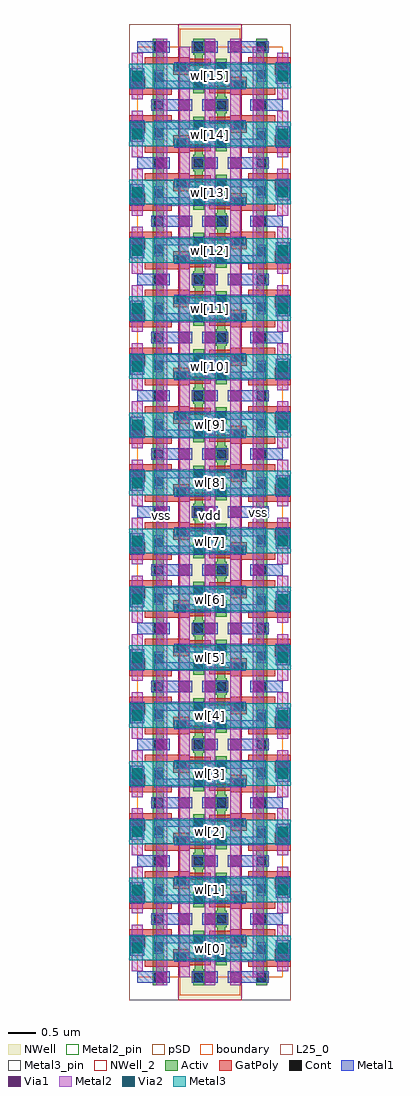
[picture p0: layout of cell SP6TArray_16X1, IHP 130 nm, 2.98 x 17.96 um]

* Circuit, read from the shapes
.subckt SP6TArray_16X1 bl[0] bl_n[0] nwell vdd vss wl[0] wl[10] wl[11] wl[12] wl[13] wl[14] wl[15] wl[1] wl[2] wl[3] wl[4] wl[5] wl[6] wl[7] wl[8] wl[9]
XM1 n1 n2 vss VSUBS sg13_lv_nmos w=0.2u l=0.13u
XM2 bl[0] wl[0] n1 VSUBS sg13_lv_nmos w=0.2u l=0.13u
XM3 n3 wl[1] bl[0] VSUBS sg13_lv_nmos w=0.2u l=0.13u
XM4 vss n4 n3 VSUBS sg13_lv_nmos w=0.2u l=0.13u
XM5 n5 n6 vss VSUBS sg13_lv_nmos w=0.2u l=0.13u
XM6 bl[0] wl[2] n5 VSUBS sg13_lv_nmos w=0.2u l=0.13u
XM7 n7 wl[3] bl[0] VSUBS sg13_lv_nmos w=0.2u l=0.13u
XM8 vss n8 n7 VSUBS sg13_lv_nmos w=0.2u l=0.13u
XM9 n9 n10 vss VSUBS sg13_lv_nmos w=0.2u l=0.13u
XM10 bl[0] wl[4] n9 VSUBS sg13_lv_nmos w=0.2u l=0.13u
XM11 n11 wl[5] bl[0] VSUBS sg13_lv_nmos w=0.2u l=0.13u
XM12 vss n12 n11 VSUBS sg13_lv_nmos w=0.2u l=0.13u
XM13 n13 n14 vss VSUBS sg13_lv_nmos w=0.2u l=0.13u
XM14 bl[0] wl[6] n13 VSUBS sg13_lv_nmos w=0.2u l=0.13u
XM15 n15 wl[7] bl[0] VSUBS sg13_lv_nmos w=0.2u l=0.13u
XM16 vss n16 n15 VSUBS sg13_lv_nmos w=0.2u l=0.13u
XM17 n17 n18 vss VSUBS sg13_lv_nmos w=0.2u l=0.13u
XM18 bl[0] wl[8] n17 VSUBS sg13_lv_nmos w=0.2u l=0.13u
XM19 n19 wl[9] bl[0] VSUBS sg13_lv_nmos w=0.2u l=0.13u
XM20 vss n20 n19 VSUBS sg13_lv_nmos w=0.2u l=0.13u
XM21 n21 n22 vss VSUBS sg13_lv_nmos w=0.2u l=0.13u
XM22 bl[0] wl[10] n21 VSUBS sg13_lv_nmos w=0.2u l=0.13u
XM23 n23 wl[11] bl[0] VSUBS sg13_lv_nmos w=0.2u l=0.13u
XM24 vss n24 n23 VSUBS sg13_lv_nmos w=0.2u l=0.13u
XM25 n25 n26 vss VSUBS sg13_lv_nmos w=0.2u l=0.13u
XM26 bl[0] wl[12] n25 VSUBS sg13_lv_nmos w=0.2u l=0.13u
XM27 n27 wl[13] bl[0] VSUBS sg13_lv_nmos w=0.2u l=0.13u
XM28 vss n28 n27 VSUBS sg13_lv_nmos w=0.2u l=0.13u
XM29 n29 n30 vss VSUBS sg13_lv_nmos w=0.2u l=0.13u
XM30 bl[0] wl[14] n29 VSUBS sg13_lv_nmos w=0.2u l=0.13u
XM31 n31 wl[15] bl[0] VSUBS sg13_lv_nmos w=0.2u l=0.13u
XM32 vss n32 n31 VSUBS sg13_lv_nmos w=0.2u l=0.13u
XM33 n2 wl[0] bl_n[0] VSUBS sg13_lv_nmos w=0.2u l=0.13u
XM34 vss n1 n2 VSUBS sg13_lv_nmos w=0.2u l=0.13u
XM35 n4 n3 vss VSUBS sg13_lv_nmos w=0.2u l=0.13u
XM36 bl_n[0] wl[1] n4 VSUBS sg13_lv_nmos w=0.2u l=0.13u
XM37 n6 wl[2] bl_n[0] VSUBS sg13_lv_nmos w=0.2u l=0.13u
XM38 vss n5 n6 VSUBS sg13_lv_nmos w=0.2u l=0.13u
XM39 n8 n7 vss VSUBS sg13_lv_nmos w=0.2u l=0.13u
XM40 bl_n[0] wl[3] n8 VSUBS sg13_lv_nmos w=0.2u l=0.13u
XM41 n10 wl[4] bl_n[0] VSUBS sg13_lv_nmos w=0.2u l=0.13u
XM42 vss n9 n10 VSUBS sg13_lv_nmos w=0.2u l=0.13u
XM43 n12 n11 vss VSUBS sg13_lv_nmos w=0.2u l=0.13u
XM44 bl_n[0] wl[5] n12 VSUBS sg13_lv_nmos w=0.2u l=0.13u
XM45 n14 wl[6] bl_n[0] VSUBS sg13_lv_nmos w=0.2u l=0.13u
XM46 vss n13 n14 VSUBS sg13_lv_nmos w=0.2u l=0.13u
XM47 n16 n15 vss VSUBS sg13_lv_nmos w=0.2u l=0.13u
XM48 bl_n[0] wl[7] n16 VSUBS sg13_lv_nmos w=0.2u l=0.13u
XM49 n18 wl[8] bl_n[0] VSUBS sg13_lv_nmos w=0.2u l=0.13u
XM50 vss n17 n18 VSUBS sg13_lv_nmos w=0.2u l=0.13u
XM51 n20 n19 vss VSUBS sg13_lv_nmos w=0.2u l=0.13u
XM52 bl_n[0] wl[9] n20 VSUBS sg13_lv_nmos w=0.2u l=0.13u
XM53 n22 wl[10] bl_n[0] VSUBS sg13_lv_nmos w=0.2u l=0.13u
XM54 vss n21 n22 VSUBS sg13_lv_nmos w=0.2u l=0.13u
XM55 n24 n23 vss VSUBS sg13_lv_nmos w=0.2u l=0.13u
XM56 bl_n[0] wl[11] n24 VSUBS sg13_lv_nmos w=0.2u l=0.13u
XM57 n26 wl[12] bl_n[0] VSUBS sg13_lv_nmos w=0.2u l=0.13u
XM58 vss n25 n26 VSUBS sg13_lv_nmos w=0.2u l=0.13u
XM59 n28 n27 vss VSUBS sg13_lv_nmos w=0.2u l=0.13u
XM60 bl_n[0] wl[13] n28 VSUBS sg13_lv_nmos w=0.2u l=0.13u
XM61 n30 wl[14] bl_n[0] VSUBS sg13_lv_nmos w=0.2u l=0.13u
XM62 vss n29 n30 VSUBS sg13_lv_nmos w=0.2u l=0.13u
XM63 n32 n31 vss VSUBS sg13_lv_nmos w=0.2u l=0.13u
XM64 bl_n[0] wl[15] n32 VSUBS sg13_lv_nmos w=0.2u l=0.13u
XM65 n1 n2 vdd nwell sg13_lv_pmos w=0.15u l=0.13u
XM66 vdd n4 n3 nwell sg13_lv_pmos w=0.15u l=0.13u
XM67 n5 n6 vdd nwell sg13_lv_pmos w=0.15u l=0.13u
XM68 vdd n8 n7 nwell sg13_lv_pmos w=0.15u l=0.13u
XM69 n9 n10 vdd nwell sg13_lv_pmos w=0.15u l=0.13u
XM70 vdd n12 n11 nwell sg13_lv_pmos w=0.15u l=0.13u
XM71 n13 n14 vdd nwell sg13_lv_pmos w=0.15u l=0.13u
XM72 vdd n16 n15 nwell sg13_lv_pmos w=0.15u l=0.13u
XM73 n17 n18 vdd nwell sg13_lv_pmos w=0.15u l=0.13u
XM74 vdd n20 n19 nwell sg13_lv_pmos w=0.15u l=0.13u
XM75 n21 n22 vdd nwell sg13_lv_pmos w=0.15u l=0.13u
XM76 vdd n24 n23 nwell sg13_lv_pmos w=0.15u l=0.13u
XM77 n25 n26 vdd nwell sg13_lv_pmos w=0.15u l=0.13u
XM78 vdd n28 n27 nwell sg13_lv_pmos w=0.15u l=0.13u
XM79 n29 n30 vdd nwell sg13_lv_pmos w=0.15u l=0.13u
XM80 vdd n32 n31 nwell sg13_lv_pmos w=0.15u l=0.13u
XM81 vdd n1 n2 nwell sg13_lv_pmos w=0.15u l=0.13u
XM82 n4 n3 vdd nwell sg13_lv_pmos w=0.15u l=0.13u
XM83 vdd n5 n6 nwell sg13_lv_pmos w=0.15u l=0.13u
XM84 n8 n7 vdd nwell sg13_lv_pmos w=0.15u l=0.13u
XM85 vdd n9 n10 nwell sg13_lv_pmos w=0.15u l=0.13u
XM86 n12 n11 vdd nwell sg13_lv_pmos w=0.15u l=0.13u
XM87 vdd n13 n14 nwell sg13_lv_pmos w=0.15u l=0.13u
XM88 n16 n15 vdd nwell sg13_lv_pmos w=0.15u l=0.13u
XM89 vdd n17 n18 nwell sg13_lv_pmos w=0.15u l=0.13u
XM90 n20 n19 vdd nwell sg13_lv_pmos w=0.15u l=0.13u
XM91 vdd n21 n22 nwell sg13_lv_pmos w=0.15u l=0.13u
XM92 n24 n23 vdd nwell sg13_lv_pmos w=0.15u l=0.13u
XM93 vdd n25 n26 nwell sg13_lv_pmos w=0.15u l=0.13u
XM94 n28 n27 vdd nwell sg13_lv_pmos w=0.15u l=0.13u
XM95 vdd n29 n30 nwell sg13_lv_pmos w=0.15u l=0.13u
XM96 n32 n31 vdd nwell sg13_lv_pmos w=0.15u l=0.13u
.ends

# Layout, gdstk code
import gdstk
lib = gdstk.Library(unit=1e-6, precision=1e-09)
def R(c, l, rs):  # rectangles x0, y0, x1, y1
    for r in rs: c.add(gdstk.rectangle(r[:2], r[2:], *l))
def A(c, l, x, y, w, h, nx, ny, dx, dy):  # array of equal rectangles
    R(c, l, [(x+i*dx, y+j*dy, x+i*dx+w, y+j*dy+h) for i in range(nx) for j in range(ny)])
def P(c, l, *ps):  # polygons
    for p in ps: c.add(gdstk.Polygon(p, *l))
Activ = (1, 0)
GatPoly = (5, 0)
Cont = (6, 0)
Metal1 = (8, 0)
Metal2 = (10, 0)
Metal2_pin = (10, 2)
pSD = (14, 0)
Via1 = (19, 0)
L25_0 = (25, 0)
Via2 = (29, 0)
Metal3 = (30, 0)
Metal3_pin = (30, 2)
NWell = (31, 0)
NWell_2 = (31, 2)
boundary = (189, 4)

sp6tcell = lib.new_cell('SP6TCell')
R(sp6tcell, Activ, [(0.29,-0.15,0.49,1.22), (2.19,-0.15,2.39,1.22)])
P(sp6tcell, Activ, [(1.45,-0.15),(1.45,0.15),(1.475,0.15),(1.475,0.555),(1.45,0.555),(1.45,0.855),(1.65,0.855),(1.65,0.555),(1.625,0.555),(1.625,0.15),(1.65,0.15),(1.65,-0.15)],
  [(1.03,0.215),(1.03,0.515),(1.055,0.515),(1.055,0.92),(1.03,0.92),(1.03,1.22),(1.23,1.22),(1.23,0.92),(1.205,0.92),(1.205,0.515),(1.23,0.515),(1.23,0.215)])
P(sp6tcell, GatPoly, [(-0.15,0.19),(-0.15,0.515),(0.15,0.515),(0.15,0.32),(0.64,0.32),(0.64,0.19)],
  [(1.72,0.19),(1.72,0.22),(1.325,0.22),(1.325,0.35),(1.72,0.35),(1.72,0.515),(2.02,0.515),(2.02,0.32),(2.54,0.32),(2.54,0.19)],
  [(0.66,0.555),(0.66,0.75),(0.14,0.75),(0.14,0.88),(0.96,0.88),(0.96,0.85),(1.355,0.85),(1.355,0.72),(0.96,0.72),(0.96,0.555)],
  [(2.53,0.555),(2.53,0.75),(2.04,0.75),(2.04,0.88),(2.83,0.88),(2.83,0.555)])
R(sp6tcell, Cont, [(0.31,-0.08,0.47,0.08), (1.47,-0.08,1.63,0.08), (2.21,-0.08,2.37,0.08), (-0.08,0.285,0.08,0.445), (1.05,0.285,1.21,0.445), (1.79,0.285,1.95,0.445), (0.31,0.43,0.47,0.59), (2.21,0.48,2.37,0.64), (0.73,0.625,0.89,0.785), (1.47,0.625,1.63,0.785), (2.6,0.625,2.76,0.785), (0.31,0.99,0.47,1.15), (1.05,0.99,1.21,1.15), (2.21,0.99,2.37,1.15)])
R(sp6tcell, Metal1, [(0.26,-0.105,1.015,0.105), (1.195,-0.105,1.68,0.105), (2.085,-0.105,2.68,0.105), (-0.13,0.285,0.13,0.68), (2.55,0.39,2.81,0.785), (0,0.965,0.595,1.175), (1,0.965,1.485,1.175), (1.665,0.965,2.42,1.175)])
P(sp6tcell, Metal1, [(0.31,0.285),(0.31,0.64),(0.47,0.64),(0.47,0.445),(2,0.445),(2,0.285)],
  [(2.21,0.43),(2.21,0.625),(0.68,0.625),(0.68,0.785),(2.37,0.785),(2.37,0.43)])
R(sp6tcell, Metal2, [(0.77,-0.145,0.97,1.07), (1.24,-0.145,1.44,1.215), (2.13,-0.145,2.33,1.07), (0.35,0,0.55,1.215), (1.71,0,1.91,1.215), (-0.1,0.105,0.1,0.965), (2.58,0.105,2.78,0.965)])
R(sp6tcell, Metal2_pin, [(0.77,-0.145,0.97,1.07), (1.24,-0.145,1.44,1.215), (2.13,-0.145,2.33,1.07), (0.35,0,0.55,1.215), (1.71,0,1.91,1.215)])
R(sp6tcell, pSD, [(0.785,-0.33,1.895,1.4)])
R(sp6tcell, Via1, [(0.775,-0.095,0.965,0.095), (1.245,-0.095,1.435,0.095), (2.135,-0.095,2.325,0.095), (-0.095,0.44,0.095,0.63), (2.585,0.44,2.775,0.63), (0.355,0.975,0.545,1.165), (1.245,0.975,1.435,1.165), (1.715,0.975,1.905,1.165)])
R(sp6tcell, L25_0, [(-0.15,-0.42,2.83,1.49)])
R(sp6tcell, Via2, [(-0.095,0.44,0.095,0.63), (2.585,0.44,2.775,0.63)])
R(sp6tcell, Metal3, [(-0.145,0.31,2.825,0.76)])
R(sp6tcell, Metal3_pin, [(-0.145,0.31,2.825,0.76)])
R(sp6tcell, NWell, [(0.76,-0.42,1.92,1.49)])
R(sp6tcell, NWell_2, [(0.76,-0.42,1.92,1.49)])
R(sp6tcell, boundary, [(0,0,2.68,1.07)])
sp6tcell.add(gdstk.Label('bl', (0.87,0.463), layer=10, texttype=25))
sp6tcell.add(gdstk.Label('vss', (0.45,0.608), layer=10, texttype=25))
sp6tcell.add(gdstk.Label('vss', (2.23,0.463), layer=10, texttype=25))
sp6tcell.add(gdstk.Label('vdd', (1.34,0.535), layer=10, texttype=25))
sp6tcell.add(gdstk.Label('bl_n', (1.81,0.608), layer=10, texttype=25))
sp6tcell.add(gdstk.Label('wl', (1.34,0.535), layer=30, texttype=25))
sp6tcell.add(gdstk.Label('nwell', (1.34,0.535), layer=31, texttype=25))

sp6tarray_2x1 = lib.new_cell('SP6TArray_2X1')
R(sp6tarray_2x1, Metal2, [(0.35,-0.145,0.55,2.14), (1.24,-0.145,1.44,2.14), (1.71,-0.145,1.91,2.285), (0.77,0,0.97,2.14), (2.13,0,2.33,2.14)])
R(sp6tarray_2x1, Metal2_pin, [(0.35,-0.145,0.55,2.14), (1.24,-0.145,1.44,2.14), (1.71,-0.145,1.91,2.285), (0.77,0,0.97,2.14), (2.13,0,2.33,2.14)])
R(sp6tarray_2x1, Metal3, [(-0.145,0.31,2.825,0.76), (-0.145,1.38,2.825,1.83)])
R(sp6tarray_2x1, Metal3_pin, [(-0.145,0.31,2.825,0.76), (-0.145,1.38,2.825,1.83)])
R(sp6tarray_2x1, NWell, [(0.76,-0.42,1.92,2.56)])
R(sp6tarray_2x1, NWell_2, [(0.76,-0.42,1.92,2.56)])
R(sp6tarray_2x1, boundary, [(0,0,2.68,2.14)])
sp6tarray_2x1.add(gdstk.Reference(sp6tcell, (0,1.07), x_reflection=True))
sp6tarray_2x1.add(gdstk.Reference(sp6tcell, (0,1.07)))
sp6tarray_2x1.add(gdstk.Label('vss', (0.45,0.998), layer=10, texttype=25))
sp6tarray_2x1.add(gdstk.Label('vss', (2.23,1.07), layer=10, texttype=25))
sp6tarray_2x1.add(gdstk.Label('vdd', (1.34,0.998), layer=10, texttype=25))
sp6tarray_2x1.add(gdstk.Label('bl[0]', (0.87,1.07), layer=10, texttype=25))
sp6tarray_2x1.add(gdstk.Label('bl_n[0]', (1.81,1.07), layer=10, texttype=25))
sp6tarray_2x1.add(gdstk.Label('wl[0]', (1.34,0.535), layer=30, texttype=25))
sp6tarray_2x1.add(gdstk.Label('wl[1]', (1.34,1.605), layer=30, texttype=25))
sp6tarray_2x1.add(gdstk.Label('nwell', (1.34,0.535), layer=31, texttype=25))
sp6tarray_2x1.add(gdstk.Label('nwell', (1.34,1.605), layer=31, texttype=25))

sp6tarray_4x1 = lib.new_cell('SP6TArray_4X1')
R(sp6tarray_4x1, Metal2, [(0.35,-0.145,0.55,4.28), (1.24,-0.145,1.44,4.28), (1.71,-0.145,1.91,4.425), (0.77,0,0.97,4.28), (2.13,0,2.33,4.28)])
R(sp6tarray_4x1, Metal2_pin, [(0.35,-0.145,0.55,4.28), (1.24,-0.145,1.44,4.28), (1.71,-0.145,1.91,4.425), (0.77,0,0.97,4.28), (2.13,0,2.33,4.28)])
A(sp6tarray_4x1, Metal3, -0.145, 0.31, 2.97, 0.45, 1, 4, 0, 1.07)
A(sp6tarray_4x1, Metal3_pin, -0.145, 0.31, 2.97, 0.45, 1, 4, 0, 1.07)
R(sp6tarray_4x1, NWell, [(0.76,-0.42,1.92,4.7)])
R(sp6tarray_4x1, NWell_2, [(0.76,-0.42,1.92,4.7)])
R(sp6tarray_4x1, boundary, [(0,0,2.68,4.28)])
sp6tarray_4x1.add(gdstk.Reference(sp6tarray_2x1, (0,0)))
sp6tarray_4x1.add(gdstk.Reference(sp6tarray_2x1, (0,2.14)))
sp6tarray_4x1.add(gdstk.Label('vss', (0.45,2.068), layer=10, texttype=25))
sp6tarray_4x1.add(gdstk.Label('vss', (2.23,2.14), layer=10, texttype=25))
sp6tarray_4x1.add(gdstk.Label('vdd', (1.34,2.068), layer=10, texttype=25))
sp6tarray_4x1.add(gdstk.Label('bl[0]', (0.87,2.14), layer=10, texttype=25))
sp6tarray_4x1.add(gdstk.Label('bl_n[0]', (1.81,2.14), layer=10, texttype=25))
sp6tarray_4x1.add(gdstk.Label('wl[0]', (1.34,0.535), layer=30, texttype=25))
sp6tarray_4x1.add(gdstk.Label('wl[1]', (1.34,1.605), layer=30, texttype=25))
sp6tarray_4x1.add(gdstk.Label('wl[2]', (1.34,2.675), layer=30, texttype=25))
sp6tarray_4x1.add(gdstk.Label('wl[3]', (1.34,3.745), layer=30, texttype=25))
sp6tarray_4x1.add(gdstk.Label('nwell', (1.34,0.535), layer=31, texttype=25))
sp6tarray_4x1.add(gdstk.Label('nwell', (1.34,2.675), layer=31, texttype=25))
sp6tarray_4x1.add(gdstk.Label('nwell', (1.34,1.605), layer=31, texttype=25))
sp6tarray_4x1.add(gdstk.Label('nwell', (1.34,3.745), layer=31, texttype=25))

sp6tarray_8x1 = lib.new_cell('SP6TArray_8X1')
R(sp6tarray_8x1, Metal2, [(0.35,-0.145,0.55,8.56), (1.24,-0.145,1.44,8.56), (1.71,-0.145,1.91,8.705), (0.77,0,0.97,8.56), (2.13,0,2.33,8.56)])
R(sp6tarray_8x1, Metal2_pin, [(0.35,-0.145,0.55,8.56), (1.24,-0.145,1.44,8.56), (1.71,-0.145,1.91,8.705), (0.77,0,0.97,8.56), (2.13,0,2.33,8.56)])
A(sp6tarray_8x1, Metal3, -0.145, 0.31, 2.97, 0.45, 1, 8, 0, 1.07)
A(sp6tarray_8x1, Metal3_pin, -0.145, 0.31, 2.97, 0.45, 1, 8, 0, 1.07)
R(sp6tarray_8x1, NWell, [(0.76,-0.42,1.92,8.98)])
R(sp6tarray_8x1, NWell_2, [(0.76,-0.42,1.92,8.98)])
R(sp6tarray_8x1, boundary, [(0,0,2.68,8.56)])
sp6tarray_8x1.add(gdstk.Reference(sp6tarray_4x1, (0,0)))
sp6tarray_8x1.add(gdstk.Reference(sp6tarray_4x1, (0,4.28)))
sp6tarray_8x1.add(gdstk.Label('vss', (0.45,4.208), layer=10, texttype=25))
sp6tarray_8x1.add(gdstk.Label('vss', (2.23,4.28), layer=10, texttype=25))
sp6tarray_8x1.add(gdstk.Label('vdd', (1.34,4.208), layer=10, texttype=25))
sp6tarray_8x1.add(gdstk.Label('bl[0]', (0.87,4.28), layer=10, texttype=25))
sp6tarray_8x1.add(gdstk.Label('bl_n[0]', (1.81,4.28), layer=10, texttype=25))
sp6tarray_8x1.add(gdstk.Label('wl[0]', (1.34,0.535), layer=30, texttype=25))
sp6tarray_8x1.add(gdstk.Label('wl[1]', (1.34,1.605), layer=30, texttype=25))
sp6tarray_8x1.add(gdstk.Label('wl[2]', (1.34,2.675), layer=30, texttype=25))
sp6tarray_8x1.add(gdstk.Label('wl[3]', (1.34,3.745), layer=30, texttype=25))
sp6tarray_8x1.add(gdstk.Label('wl[4]', (1.34,4.815), layer=30, texttype=25))
sp6tarray_8x1.add(gdstk.Label('wl[5]', (1.34,5.885), layer=30, texttype=25))
sp6tarray_8x1.add(gdstk.Label('wl[6]', (1.34,6.955), layer=30, texttype=25))
sp6tarray_8x1.add(gdstk.Label('wl[7]', (1.34,8.025), layer=30, texttype=25))
sp6tarray_8x1.add(gdstk.Label('nwell', (1.34,0.535), layer=31, texttype=25))
sp6tarray_8x1.add(gdstk.Label('nwell', (1.34,2.675), layer=31, texttype=25))
sp6tarray_8x1.add(gdstk.Label('nwell', (1.34,4.815), layer=31, texttype=25))
sp6tarray_8x1.add(gdstk.Label('nwell', (1.34,5.885), layer=31, texttype=25))
sp6tarray_8x1.add(gdstk.Label('nwell', (1.34,8.025), layer=31, texttype=25))
sp6tarray_8x1.add(gdstk.Label('nwell', (1.34,1.605), layer=31, texttype=25))
sp6tarray_8x1.add(gdstk.Label('nwell', (1.34,3.745), layer=31, texttype=25))
sp6tarray_8x1.add(gdstk.Label('nwell', (1.34,6.955), layer=31, texttype=25))

sp6tarray_16x1 = lib.new_cell('SP6TArray_16X1')
R(sp6tarray_16x1, Metal2, [(0.35,-0.145,0.55,17.12), (1.24,-0.145,1.44,17.12), (1.71,-0.145,1.91,17.265), (0.77,0,0.97,17.12), (2.13,0,2.33,17.12)])
R(sp6tarray_16x1, Metal2_pin, [(0.35,-0.145,0.55,17.12), (1.24,-0.145,1.44,17.12), (1.71,-0.145,1.91,17.265), (0.77,0,0.97,17.12), (2.13,0,2.33,17.12)])
A(sp6tarray_16x1, Metal3, -0.145, 0.31, 2.97, 0.45, 1, 16, 0, 1.07)
A(sp6tarray_16x1, Metal3_pin, -0.145, 0.31, 2.97, 0.45, 1, 16, 0, 1.07)
R(sp6tarray_16x1, NWell, [(0.76,-0.42,1.92,17.54)])
R(sp6tarray_16x1, NWell_2, [(0.76,-0.42,1.92,17.54)])
R(sp6tarray_16x1, boundary, [(0,0,2.68,17.12)])
sp6tarray_16x1.add(gdstk.Reference(sp6tarray_8x1, (0,0)))
sp6tarray_16x1.add(gdstk.Reference(sp6tarray_8x1, (0,8.56)))
sp6tarray_16x1.add(gdstk.Label('vss', (2.23,8.56), layer=10, texttype=25))
sp6tarray_16x1.add(gdstk.Label('vss', (0.45,8.488), layer=10, texttype=25))
sp6tarray_16x1.add(gdstk.Label('vdd', (1.34,8.488), layer=10, texttype=25))
sp6tarray_16x1.add(gdstk.Label('bl[0]', (0.87,8.56), layer=10, texttype=25))
sp6tarray_16x1.add(gdstk.Label('bl_n[0]', (1.81,8.56), layer=10, texttype=25))
sp6tarray_16x1.add(gdstk.Label('wl[0]', (1.34,0.535), layer=30, texttype=25))
sp6tarray_16x1.add(gdstk.Label('wl[1]', (1.34,1.605), layer=30, texttype=25))
sp6tarray_16x1.add(gdstk.Label('wl[2]', (1.34,2.675), layer=30, texttype=25))
sp6tarray_16x1.add(gdstk.Label('wl[3]', (1.34,3.745), layer=30, texttype=25))
sp6tarray_16x1.add(gdstk.Label('wl[4]', (1.34,4.815), layer=30, texttype=25))
sp6tarray_16x1.add(gdstk.Label('wl[5]', (1.34,5.885), layer=30, texttype=25))
sp6tarray_16x1.add(gdstk.Label('wl[6]', (1.34,6.955), layer=30, texttype=25))
sp6tarray_16x1.add(gdstk.Label('wl[7]', (1.34,8.025), layer=30, texttype=25))
sp6tarray_16x1.add(gdstk.Label('wl[8]', (1.34,9.095), layer=30, texttype=25))
sp6tarray_16x1.add(gdstk.Label('wl[9]', (1.34,10.165), layer=30, texttype=25))
sp6tarray_16x1.add(gdstk.Label('wl[10]', (1.34,11.235), layer=30, texttype=25))
sp6tarray_16x1.add(gdstk.Label('wl[11]', (1.34,12.305), layer=30, texttype=25))
sp6tarray_16x1.add(gdstk.Label('wl[12]', (1.34,13.375), layer=30, texttype=25))
sp6tarray_16x1.add(gdstk.Label('wl[13]', (1.34,14.445), layer=30, texttype=25))
sp6tarray_16x1.add(gdstk.Label('wl[14]', (1.34,15.515), layer=30, texttype=25))
sp6tarray_16x1.add(gdstk.Label('wl[15]', (1.34,16.585), layer=30, texttype=25))
sp6tarray_16x1.add(gdstk.Label('nwell', (1.34,0.535), layer=31, texttype=25))
sp6tarray_16x1.add(gdstk.Label('nwell', (1.34,10.165), layer=31, texttype=25))
sp6tarray_16x1.add(gdstk.Label('nwell', (1.34,2.675), layer=31, texttype=25))
sp6tarray_16x1.add(gdstk.Label('nwell', (1.34,11.235), layer=31, texttype=25))
sp6tarray_16x1.add(gdstk.Label('nwell', (1.34,16.585), layer=31, texttype=25))
sp6tarray_16x1.add(gdstk.Label('nwell', (1.34,12.305), layer=31, texttype=25))
sp6tarray_16x1.add(gdstk.Label('nwell', (1.34,13.375), layer=31, texttype=25))
sp6tarray_16x1.add(gdstk.Label('nwell', (1.34,9.095), layer=31, texttype=25))
sp6tarray_16x1.add(gdstk.Label('nwell', (1.34,8.025), layer=31, texttype=25))
sp6tarray_16x1.add(gdstk.Label('nwell', (1.34,4.815), layer=31, texttype=25))
sp6tarray_16x1.add(gdstk.Label('nwell', (1.34,5.885), layer=31, texttype=25))
sp6tarray_16x1.add(gdstk.Label('nwell', (1.34,3.745), layer=31, texttype=25))
sp6tarray_16x1.add(gdstk.Label('nwell', (1.34,1.605), layer=31, texttype=25))
sp6tarray_16x1.add(gdstk.Label('nwell', (1.34,14.445), layer=31, texttype=25))
sp6tarray_16x1.add(gdstk.Label('nwell', (1.34,15.515), layer=31, texttype=25))
sp6tarray_16x1.add(gdstk.Label('nwell', (1.34,6.955), layer=31, texttype=25))

lib.write_gds('SP6TArray_16X1.gds')
